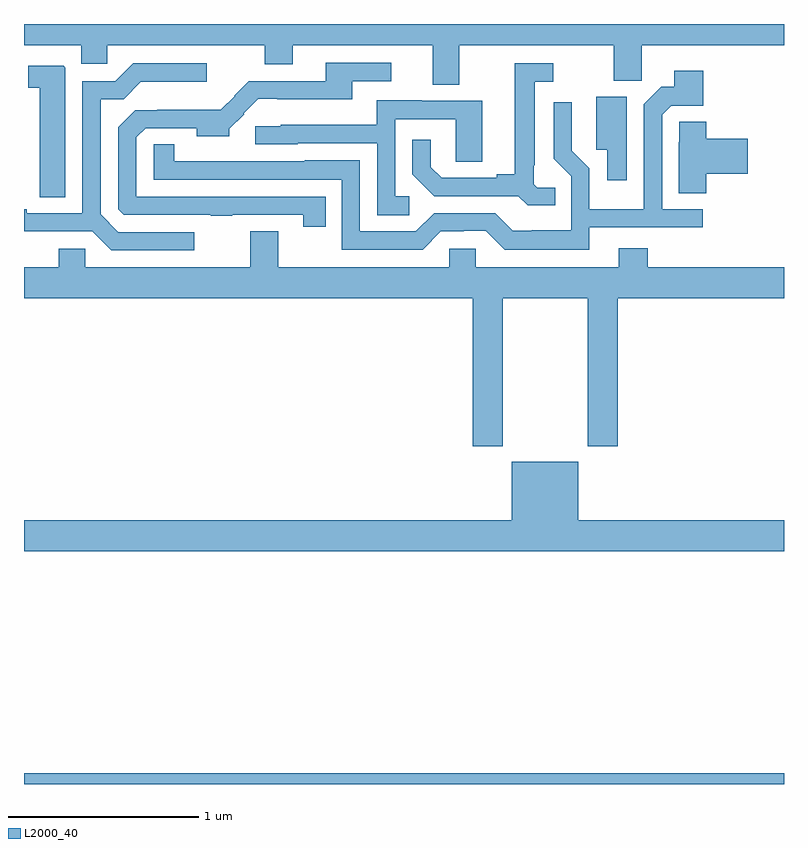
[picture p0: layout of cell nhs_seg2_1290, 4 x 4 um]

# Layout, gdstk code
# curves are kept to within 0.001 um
import gdstk
lib = gdstk.Library(unit=1e-6, precision=1e-09)
def R(c, l, rs):  # rectangles x0, y0, x1, y1
    for r in rs: c.add(gdstk.rectangle(r[:2], r[2:], *l))
def P(c, l, *ps):  # polygons
    for p in ps: c.add(gdstk.Polygon(p, *l))
L2000_40 = (2000, 40)

nhs_seg2_1290 = lib.new_cell('nhs_seg2_1290')
R(nhs_seg2_1290, L2000_40, [(179,591.8,183,591.856)])
P(nhs_seg2_1290, L2000_40, [(181.291,595.688),(182.104,595.688),(182.104,595.501),(182.25,595.501),(182.25,595.688),(183,595.688),(183,595.8),(179,595.8),(179,595.688),(179.3,595.688),(179.3,595.59),(179.439,595.59),(179.439,595.688),(180.268,595.688),(180.268,595.589),(180.415,595.589),(180.415,595.688),(181.151,595.688),(181.151,595.48),(181.291,595.48)],
  [(180.587,594.891),(179.592,594.891),(179.592,595.203),(179.64,595.251),(179.909,595.251),(179.909,595.208),(180.08,595.208),(180.08,595.248),(180.159,595.326),(180.156,595.329),(180.233,595.406),(180.334,595.406),(180.334,595.403),(180.727,595.403),(180.727,595.5),(180.934,595.5),(180.934,595.596),(180.587,595.596),(180.587,595.5),(180.183,595.5),(180.107,595.423),(180.109,595.421),(180.035,595.348),(179.701,595.348),(179.701,595.346),(179.585,595.346),(179.496,595.257),(179.496,594.825),(179.526,594.795),(179.983,594.795),(179.983,594.79),(180.095,594.79),(180.095,594.795),(180.469,594.795),(180.469,594.732),(180.587,594.732)],
  [(179.896,594.705),(179.496,594.705),(179.403,594.798),(179.403,595.405),(179.524,595.405),(179.615,595.496),(179.962,595.496),(179.962,595.593),(179.574,595.593),(179.481,595.5),(179.307,595.5),(179.307,594.804),(179.014,594.804),(179.014,594.824),(179,594.824),(179,594.708),(179.36,594.708),(179.459,594.609),(179.896,594.609)],
  [(181.796,594.939),(181.701,594.939),(181.683,594.957),(181.683,595.057),(181.687,595.057),(181.687,595.497),(181.786,595.497),(181.786,595.593),(181.583,595.593),(181.583,595.01),(181.487,595.01),(181.487,594.99),(181.198,594.99),(181.141,595.047),(181.141,595.192),(181.044,595.192),(181.044,595.01),(181.16,594.894),(181.602,594.894),(181.65,594.847),(181.796,594.847)],
  [(179.218,595.571),(179.208,595.581),(179.022,595.581),(179.022,595.465),(179.084,595.465),(179.084,594.889),(179.218,594.889)],
  [(181.975,594.729),(182.572,594.729),(182.572,594.825),(182.358,594.825),(182.358,595.323),(182.406,595.371),(182.576,595.371),(182.576,595.555),(182.423,595.555),(182.423,595.47),(182.355,595.47),(182.262,595.377),(182.262,594.826),(181.974,594.826),(181.974,595.042),(181.883,595.134),(181.884,595.387),(181.788,595.387),(181.788,595.092),(181.881,594.999),(181.881,594.715),(181.672,594.715),(181.672,594.711),(181.572,594.711),(181.479,594.804),(181.158,594.804),(181.062,594.708),(180.768,594.708),(180.768,595.084),(180.477,595.084),(180.477,595.077),(179.791,595.078),(179.791,595.166),(179.682,595.166),(179.682,594.981),(180.672,594.981),(180.672,594.612),(181.098,594.612),(181.194,594.708),(181.314,594.708),(181.314,594.711),(181.431,594.711),(181.531,594.611),(181.975,594.611)],
  [(182.173,595.416),(182.012,595.416),(182.012,595.137),(182.069,595.137),(182.069,594.978),(182.173,594.978)],
  [(181.027,594.894),(180.954,594.894),(180.954,595.299),(181.272,595.299),(181.272,595.075),(181.411,595.075),(181.411,595.395),(181.093,595.395),(181.093,595.399),(180.857,595.399),(180.857,595.27),(180.351,595.27),(180.351,595.263),(180.216,595.263),(180.216,595.167),(180.441,595.167),(180.441,595.173),(180.858,595.173),(180.858,594.793),(181.027,594.793)],
  [(182.591,595.013),(182.809,595.013),(182.809,595.196),(182.591,595.196),(182.591,595.286),(182.448,595.286),(182.448,595.178),(182.447,595.178),(182.447,594.91),(182.591,594.91)],
  [(181.521,594.356),(181.966,594.356),(181.966,593.577),(182.126,593.577),(182.126,594.356),(183,594.356),(183,594.52),(182.282,594.52),(182.282,594.619),(182.129,594.619),(182.129,594.52),(181.377,594.52),(181.377,594.618),(181.239,594.618),(181.239,594.52),(180.339,594.52),(180.339,594.71),(180.191,594.71),(180.191,594.52),(179.322,594.52),(179.322,594.618),(179.183,594.618),(179.183,594.52),(179,594.52),(179,594.356),(181.361,594.356),(181.361,593.577),(181.521,593.577)],
  [(183,593.188),(181.918,593.188),(181.918,593.497),(181.568,593.497),(181.568,593.188),(179,593.188),(179,593.024),(183,593.024)])

lib.write_gds('nhs_seg2_1290.gds')
